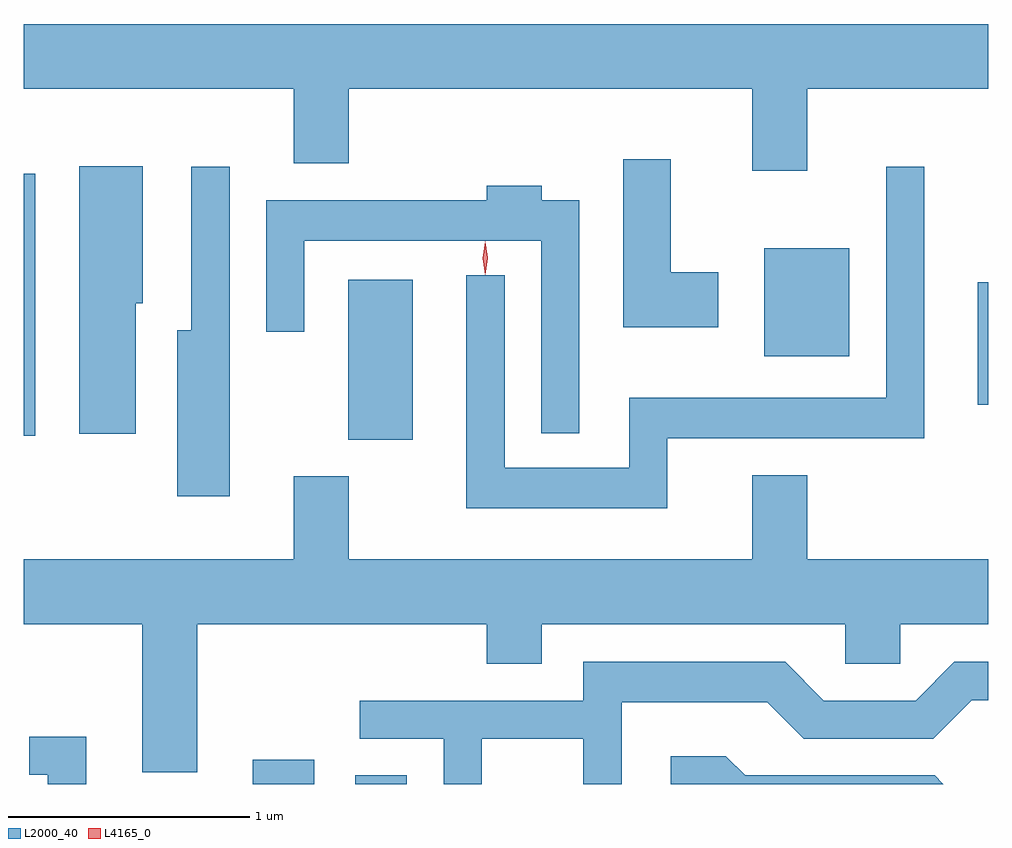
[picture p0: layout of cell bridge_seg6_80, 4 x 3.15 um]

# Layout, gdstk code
import gdstk
lib = gdstk.Library(unit=1e-6, precision=1e-09)
def R(c, l, rs):  # rectangles x0, y0, x1, y1
    for r in rs: c.add(gdstk.rectangle(r[:2], r[2:], *l))
def P(c, l, *ps):  # polygons
    for p in ps: c.add(gdstk.Polygon(p, *l))
L2000_40 = (2000, 40)
L4165_0 = (4165, 0)

bridge_seg6_80 = lib.new_cell('bridge_seg6_80')
R(bridge_seg6_80, L2000_40, [(1286.391,1655.933,1286.644,1656.034), (1286.816,1655.933,1287.029,1655.969), (1286.786,1657.361,1287.054,1658.024), (1285.44,1657.376,1285.489,1658.464), (1289.396,1657.506,1289.44,1658.014), (1288.511,1657.706,1288.864,1658.154)])
P(bridge_seg6_80, L2000_40, [(1288.689,1658.816),(1289.44,1658.816),(1289.44,1659.084),(1285.44,1659.084),(1285.44,1658.816),(1286.561,1658.816),(1286.561,1658.506),(1286.789,1658.506),(1286.789,1658.816),(1288.461,1658.816),(1288.461,1658.476),(1288.689,1658.476)],
  [(1288.319,1658.054),(1288.124,1658.054),(1288.124,1658.524),(1287.926,1658.524),(1287.926,1657.826),(1288.319,1657.826)],
  [(1285.904,1657.926),(1285.934,1657.926),(1285.934,1658.494),(1285.671,1658.494),(1285.671,1657.386),(1285.904,1657.386)],
  [(1288.109,1657.366),(1289.174,1657.366),(1289.174,1658.493),(1289.016,1658.493),(1289.016,1657.534),(1287.951,1657.534),(1287.951,1657.244),(1287.434,1657.244),(1287.434,1658.043),(1287.276,1658.043),(1287.276,1657.076),(1288.109,1657.076)],
  [(1286.294,1658.493),(1286.136,1658.493),(1286.136,1657.814),(1286.076,1657.814),(1286.076,1657.126),(1286.294,1657.126)],
  [(1287.744,1658.354),(1287.589,1658.354),(1287.589,1658.414),(1287.361,1658.414),(1287.361,1658.354),(1286.446,1658.354),(1286.446,1657.808),(1286.604,1657.808),(1286.604,1658.186),(1287.586,1658.186),(1287.586,1657.388),(1287.744,1657.388)],
  [(1288.689,1657.214),(1288.461,1657.214),(1288.461,1656.864),(1286.789,1656.864),(1286.789,1657.209),(1286.561,1657.209),(1286.561,1656.864),(1285.44,1656.864),(1285.44,1656.596),(1285.931,1656.596),(1285.931,1655.981),(1286.159,1655.981),(1286.159,1656.596),(1287.361,1656.596),(1287.361,1656.431),(1287.589,1656.431),(1287.589,1656.596),(1288.846,1656.596),(1288.846,1656.431),(1289.074,1656.431),(1289.074,1656.596),(1289.44,1656.596),(1289.44,1656.864),(1288.689,1656.864)],
  [(1287.339,1656.121),(1287.761,1656.121),(1287.761,1655.933),(1287.919,1655.933),(1287.919,1656.271),(1288.524,1656.271),(1288.674,1656.121),(1289.212,1656.121),(1289.372,1656.281),(1289.44,1656.281),(1289.44,1656.439),(1289.299,1656.439),(1289.139,1656.279),(1288.757,1656.279),(1288.597,1656.439),(1287.761,1656.439),(1287.761,1656.279),(1286.833,1656.279),(1286.833,1656.121),(1287.181,1656.121),(1287.181,1655.933),(1287.339,1655.933)],
  [(1285.699,1656.129),(1285.463,1656.129),(1285.463,1655.971),(1285.541,1655.971),(1285.541,1655.933),(1285.699,1655.933)],
  [(1289.217,1655.969),(1288.432,1655.969),(1288.352,1656.049),(1288.123,1656.049),(1288.123,1655.933),(1289.253,1655.933)])
P(bridge_seg6_80, L4165_0, [(1287.355,1658.047),(1287.354,1658.048),(1287.345,1658.114),(1287.354,1658.18),(1287.355,1658.181),(1287.355,1658.18),(1287.365,1658.114),(1287.355,1658.048)],
  [(1287.354,1658.044),(1287.354,1658.044),(1287.344,1658.113),(1287.354,1658.182),(1287.354,1658.183),(1287.355,1658.182),(1287.364,1658.113),(1287.355,1658.044)])

lib.write_gds('bridge_seg6_80.gds')
